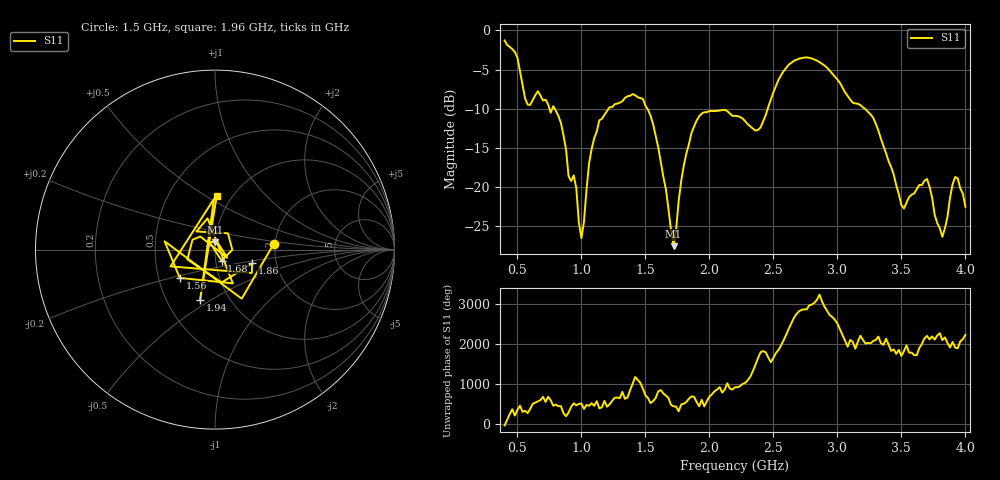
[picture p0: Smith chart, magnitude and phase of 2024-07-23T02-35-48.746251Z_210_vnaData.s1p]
!Created with skrf (http://scikit-rf.org).
# Hz S RI R 50.0
!freq ReS11 ImS11
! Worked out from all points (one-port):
!   181 points, 400 MHz to 4 GHz, reference 50 ohm
!   lowest |S11| = -27.6 dB at 1.72 GHz (marker M1), VSWR 1.09, Z = 49.8 + j4.15 ohm
!   |S11| at or under -10 dB: 790.7 MHz to 1.213 GHz (422 MHz wide, 42.1 % of centre); 1.515 GHz to 2.456 GHz (941.2 MHz wide, 47.4 % of centre); 3.213 GHz to end of sweep (the widest 3 of 4)
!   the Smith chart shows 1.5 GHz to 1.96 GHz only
!   S11 on the Smith chart (normalised r, x): 1.5 GHz: 1.97, +0.15; 1.56 GHz: 0.64, -0.22; 1.68 GHz: 1.07, -0.13; 1.86 GHz: 1.50, -0.24; 1.94 GHz: 0.73, -0.45; 1.96 GHz: 0.85, +0.56
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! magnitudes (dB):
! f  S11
! 400 MHz  -1.3
! 580 MHz  -9.5
! 660 MHz  -7.8
! 860 MHz  -13.4
! 900 MHz  -18.7
! 960 MHz  -20.2
! 1 GHz  -26.6
! 1.1 GHz  -13.8
! 1.3 GHz  -9.2
! 1.5 GHz  -9.6
! 1.56 GHz  -12.0
! 1.68 GHz  -22.8
! 1.72 GHz  -27.6
! 1.76 GHz  -21.8
! 1.86 GHz  -13.1
! 1.94 GHz  -10.6
! 1.96 GHz  -10.5
! 2.2 GHz  -10.9
! 2.38 GHz  -12.7
! 2.66 GHz  -3.9
! 3.1 GHz  -8.8
! 3.28 GHz  -11.2
! 3.5 GHz  -22.3
! 3.56 GHz  -21.3
! 3.7 GHz  -19.0
! 3.82 GHz  -26.4
! 3.92 GHz  -18.8
! 4 GHz  -22.6
